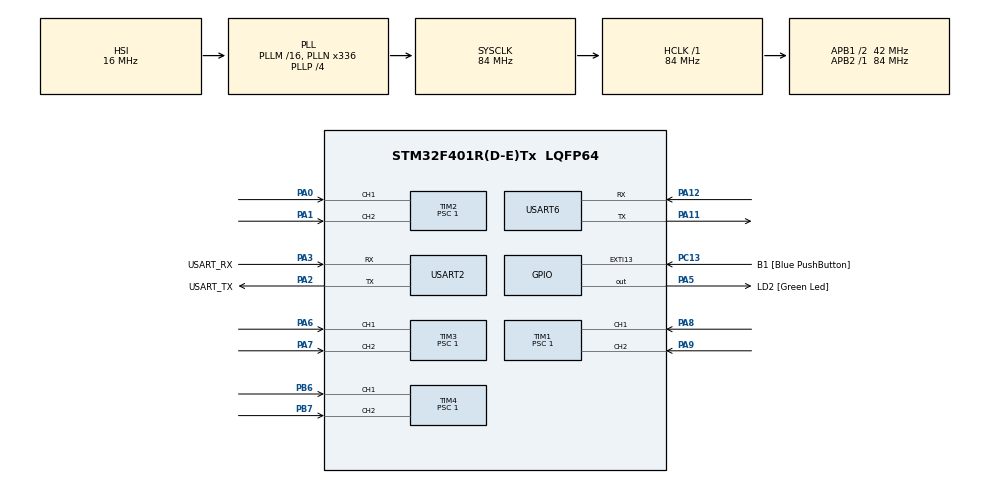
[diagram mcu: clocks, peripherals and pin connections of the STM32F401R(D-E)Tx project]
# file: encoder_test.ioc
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Mcu.Family=STM32F4
Mcu.Name=STM32F401R(D-E)Tx
Mcu.Package=LQFP64
NVIC.PriorityGroup=NVIC_PRIORITYGROUP_0
NVIC.TIM1_UP_TIM10_IRQn=true\:0\:0\:false\:false\:true\:true\:true
PA0-WKUP.Signal=S_TIM2_CH1_ETR
PA1.Signal=S_TIM2_CH2
PA11.Mode=Asynchronous
PA11.Signal=USART6_TX
PA12.Mode=Asynchronous
PA12.Signal=USART6_RX
PA13.GPIO_Label=TMS
PA13.Mode=Serial_Wire
PA13.Signal=SYS_JTMS-SWDIO
PA14.GPIO_Label=TCK
PA14.Mode=Serial_Wire
PA14.Signal=SYS_JTCK-SWCLK
PA2.GPIO_Label=USART_TX
PA2.GPIO_Mode=GPIO_MODE_AF_PP
PA2.GPIO_PuPd=GPIO_NOPULL
PA2.GPIO_Speed=GPIO_SPEED_FREQ_LOW
PA2.Mode=Asynchronous
PA2.Signal=USART2_TX
PA3.GPIO_Label=USART_RX
PA3.GPIO_Mode=GPIO_MODE_AF_PP
PA3.GPIO_PuPd=GPIO_NOPULL
PA3.GPIO_Speed=GPIO_SPEED_FREQ_LOW
PA3.Mode=Asynchronous
PA3.Signal=USART2_RX
PA5.GPIO_Label=LD2 [Green Led]
PA5.GPIO_Mode=GPIO_MODE_OUTPUT_PP
PA5.GPIO_PuPd=GPIO_NOPULL
PA5.GPIO_Speed=GPIO_SPEED_FREQ_LOW
PA5.Signal=GPIO_Output
PA6.Signal=S_TIM3_CH1
PA7.Signal=S_TIM3_CH2
PA8.Signal=S_TIM1_CH1
PA9.Signal=S_TIM1_CH2
PB3.GPIO_Label=SWO
PB3.Signal=SYS_JTDO-SWO
PB6.Signal=S_TIM4_CH1
PB7.Signal=S_TIM4_CH2
PC13-ANTI_TAMP.GPIO_Label=B1 [Blue PushButton]
PC13-ANTI_TAMP.GPIO_ModeDefaultEXTI=GPIO_MODE_IT_FALLING
PC13-ANTI_TAMP.GPIO_PuPd=GPIO_NOPULL
PC13-ANTI_TAMP.Signal=GPXTI13
PC14-OSC32_IN.Mode=LSE-External-Oscillator
PC14-OSC32_IN.Signal=RCC_OSC32_IN
PC15-OSC32_OUT.Mode=LSE-External-Oscillator
PC15-OSC32_OUT.Signal=RCC_OSC32_OUT
PH0\ -\ OSC_IN.Mode=HSE-External-Clock-Source
PH0\ -\ OSC_IN.Signal=RCC_OSC_IN
PH1\ -\ OSC_OUT.Mode=HSE-External-Clock-Source
PH1\ -\ OSC_OUT.Signal=RCC_OSC_OUT
ProjectManager.HeapSize=0x200
ProjectManager.StackSize=0x400
ProjectManager.TargetToolchain=STM32CubeIDE
RCC.48MHZClocksFreq_Value=48000000
RCC.AHBFreq_Value=84000000
RCC.APB1CLKDivider=RCC_HCLK_DIV2
RCC.APB1Freq_Value=42000000
RCC.APB1TimFreq_Value=84000000
RCC.APB2Freq_Value=84000000
RCC.APB2TimFreq_Value=84000000
RCC.CortexFreq_Value=84000000
RCC.HCLKFreq_Value=84000000
RCC.HSE_VALUE=8000000
RCC.HSI_VALUE=16000000
RCC.PLLN=336
RCC.PLLP=RCC_PLLP_DIV4
RCC.PLLQ=7
RCC.SYSCLKFreq_VALUE=84000000
RCC.SYSCLKSource=RCC_SYSCLKSOURCE_PLLCLK
RCC.VCOOutputFreq_Value=336000000
SH.S_TIM1_CH1.0=TIM1_CH1,Encoder_Interface
SH.S_TIM1_CH2.0=TIM1_CH2,Encoder_Interface
SH.S_TIM2_CH1_ETR.0=TIM2_CH1,Encoder_Interface
SH.S_TIM2_CH2.0=TIM2_CH2,Encoder_Interface
SH.S_TIM3_CH1.0=TIM3_CH1,Encoder_Interface
SH.S_TIM3_CH2.0=TIM3_CH2,Encoder_Interface
SH.S_TIM4_CH1.0=TIM4_CH1,Encoder_Interface
SH.S_TIM4_CH2.0=TIM4_CH2,Encoder_Interface
TIM1.IC1Filter=0
TIM1.Period=59999
TIM1.Prescaler=1
TIM10.AutoReloadPreload=TIM_AUTORELOAD_PRELOAD_ENABLE
TIM10.Period=8400
TIM10.Prescaler=999
TIM2.Period=59999
TIM2.Prescaler=1
TIM3.Period=59999
TIM3.Prescaler=1
TIM4.Period=59999
TIM4.Prescaler=1
USART2.VirtualMode=VM_ASYNC
USART6.VirtualMode=VM_ASYNC
VP_TIM10_VS_ClockSourceINT.Mode=Enable_Timer
board=NUCLEO-F401RE

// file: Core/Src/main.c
/* USER CODE BEGIN Header */
/**
 ******************************************************************************
 * @file           : main.c
 * @brief          : Main program body
 ******************************************************************************
 * @attention
 *
 * <h2><center>&copy; Copyright (c) 2021 STMicroelectronics.
 * All rights reserved.</center></h2>
 *
 * This software component is licensed by ST under BSD 3-Clause license,
 * the "License"; You may not use this file except in compliance with the
 * License. You may obtain a copy of the License at:
 *                        opensource.org/licenses/BSD-3-Clause
 *
 ******************************************************************************
 */
/* USER CODE END Header */
#include "main.h"

/* USER CODE BEGIN Includes */
#include "xprintf.h"
/* USER CODE END Includes */

/* USER CODE BEGIN PTD */
#define motor_pr 1440.0 //motor P/R
/* USER CODE END PTD */

TIM_HandleTypeDef htim1;
TIM_HandleTypeDef htim2;
TIM_HandleTypeDef htim3;
TIM_HandleTypeDef htim4;
TIM_HandleTypeDef htim10;

UART_HandleTypeDef huart2;
UART_HandleTypeDef huart6;

void SystemClock_Config(void);
static void MX_GPIO_Init(void);
static void MX_USART2_UART_Init(void);
static void MX_TIM3_Init(void);
static void MX_TIM1_Init(void);
static void MX_TIM2_Init(void);
static void MX_TIM4_Init(void);
static void MX_TIM10_Init(void);
static void MX_USART6_UART_Init(void);

/* USER CODE BEGIN 0 */
float pwm[4] = { 0 };
void Count2rpm() {
	pwm[0] = (((float) TIM1->CNT - 30000.0) * 600.0) / motor_pr;
	pwm[1] = (((float) TIM2->CNT - 30000.0) * 600.0) / motor_pr;
	pwm[2] = (((float) TIM3->CNT - 30000.0) * 600.0) / motor_pr;
	pwm[3] = (((float) TIM4->CNT - 30000.0) * 600.0) / motor_pr;
	TIM1->CNT = 30000;
	TIM2->CNT = 30000;
	TIM3->CNT = 30000;
	TIM4->CNT = 30000;
}

void uart_putc(uint8_t c) {
	char buf[1];
	buf[0] = c;
	HAL_UART_Transmit(&huart2, (uint8_t*) buf, sizeof(buf), 0xFFFF);
}
void uart_puts(char *str) {
	while (*str) {
		uart_putc(*str++);
	}
}

TIM_Encoder_InitTypeDef sConfig1;
TIM_Encoder_InitTypeDef sConfig2;
TIM_Encoder_InitTypeDef sConfig3;
TIM_Encoder_InitTypeDef sConfig4;
TIM_MasterConfigTypeDef sMasterConfig1;
TIM_MasterConfigTypeDef sMasterConfig2;
TIM_MasterConfigTypeDef sMasterConfig3;
TIM_MasterConfigTypeDef sMasterConfig4;
/* USER CODE END 0 */

int main(void) {
	/* USER CODE BEGIN 1 */
	xdev_out(uart_putc);

	/* USER CODE END 1 */

	/* MCU Configuration--------------------------------------------------------*/

	/* Reset of all peripherals, Initializes the Flash interface and the Systick. */
	HAL_Init();

	/* Configure the system clock */
	SystemClock_Config();

	/* Initialize all configured peripherals */
	MX_GPIO_Init();
	MX_USART2_UART_Init();
	MX_TIM3_Init();
	MX_TIM1_Init();
	MX_TIM2_Init();
	MX_TIM4_Init();
	MX_TIM10_Init();
	MX_USART6_UART_Init();
	/* USER CODE BEGIN 2 */
	uint8_t buf[5];
	uint16_t tx_rpm[4] = { 500, 500, 500, 500 };
	if (HAL_TIM_Encoder_Init(&htim1, &sConfig1) != HAL_OK) {
		Error_Handler();
	}
	HAL_TIM_Encoder_Start(&htim1, TIM_CHANNEL_ALL);
	TIM1->CNT = 30000;

	if (HAL_TIM_Encoder_Init(&htim2, &sConfig2) != HAL_OK) {
		Error_Handler();
	}
	HAL_TIM_Encoder_Start(&htim2, TIM_CHANNEL_ALL);
	TIM2->CNT = 30000;

	if (HAL_TIM_Encoder_Init(&htim3, &sConfig3) != HAL_OK) {
		Error_Handler();
	}
	HAL_TIM_Encoder_Start(&htim3, TIM_CHANNEL_ALL);
	TIM3->CNT = 30000;

	if (HAL_TIM_Encoder_Init(&htim4, &sConfig4) != HAL_OK) {
		Error_Handler();
	}
	HAL_TIM_Encoder_Start(&htim4, TIM_CHANNEL_ALL);
	TIM4->CNT = 30000;
	HAL_TIM_Base_Start_IT(&htim10);
	/* USER CODE END 2 */

	/* Infinite loop */
	/* USER CODE BEGIN WHILE */
	while (1) {
		for (int i = 0; i < 4; i++) {
			tx_rpm[i] = pwm[i] + 500;
		}
		buf[0] = (tx_rpm[0] & 0xFF); //0から8桁
		buf[1] = (((tx_rpm[0] >> 8) + (tx_rpm[1] << 2)) & 0xFF); //0から2桁、1から6桁
		buf[2] = (((tx_rpm[1] >> 6) + (tx_rpm[2] << 4)) & 0xFF); //1から4桁、2から4桁
		buf[3] = (((tx_rpm[2] >> 4) + (tx_rpm[3] << 6)) & 0xFF); //2から6桁、3から2桁
		buf[4] = ((tx_rpm[3] >> 2) & 0xFF);
		HAL_UART_Transmit(&huart6, buf, sizeof(buf), 0xFFFF);
		HAL_Delay(100);
		/* USER CODE END WHILE */

	}
}

void SystemClock_Config(void) {
	RCC_OscInitTypeDef RCC_OscInitStruct = { 0 };
	RCC_ClkInitTypeDef RCC_ClkInitStruct = { 0 };

	/** Configure the main internal regulator output voltage
	 */
	__HAL_RCC_PWR_CLK_ENABLE();
	__HAL_PWR_VOLTAGESCALING_CONFIG(PWR_REGULATOR_VOLTAGE_SCALE2);
	/** Initializes the RCC Oscillators according to the specified parameters
	 * in the RCC_OscInitTypeDef structure.
	 */
	RCC_OscInitStruct.OscillatorType = RCC_OSCILLATORTYPE_HSI;
	RCC_OscInitStruct.HSIState = RCC_HSI_ON;
	RCC_OscInitStruct.HSICalibrationValue = RCC_HSICALIBRATION_DEFAULT;
	RCC_OscInitStruct.PLL.PLLState = RCC_PLL_ON;
	RCC_OscInitStruct.PLL.PLLSource = RCC_PLLSOURCE_HSI;
	RCC_OscInitStruct.PLL.PLLM = 16;
	RCC_OscInitStruct.PLL.PLLN = 336;
	RCC_OscInitStruct.PLL.PLLP = RCC_PLLP_DIV4;
	RCC_OscInitStruct.PLL.PLLQ = 7;
	if (HAL_RCC_OscConfig(&RCC_OscInitStruct) != HAL_OK) {
		Error_Handler();
	}
	/** Initializes the CPU, AHB and APB buses clocks
	 */
	RCC_ClkInitStruct.ClockType = RCC_CLOCKTYPE_HCLK | RCC_CLOCKTYPE_SYSCLK
			| RCC_CLOCKTYPE_PCLK1 | RCC_CLOCKTYPE_PCLK2;
	RCC_ClkInitStruct.SYSCLKSource = RCC_SYSCLKSOURCE_PLLCLK;
	RCC_ClkInitStruct.AHBCLKDivider = RCC_SYSCLK_DIV1;
	RCC_ClkInitStruct.APB1CLKDivider = RCC_HCLK_DIV2;
	RCC_ClkInitStruct.APB2CLKDivider = RCC_HCLK_DIV1;

	if (HAL_RCC_ClockConfig(&RCC_ClkInitStruct, FLASH_LATENCY_2) != HAL_OK) {
		Error_Handler();
	}
}

static void MX_TIM1_Init(void) {

	//TIM_Encoder_InitTypeDef sConfig = {0};
	//TIM_MasterConfigTypeDef sMasterConfig = {0};
	htim1.Instance = TIM1;
	htim1.Init.Prescaler = 1;
	htim1.Init.CounterMode = TIM_COUNTERMODE_UP;
	htim1.Init.Period = 59999;
	htim1.Init.ClockDivision = TIM_CLOCKDIVISION_DIV1;
	htim1.Init.RepetitionCounter = 0;
	htim1.Init.AutoReloadPreload = TIM_AUTORELOAD_PRELOAD_DISABLE;
	sConfig1.EncoderMode = TIM_ENCODERMODE_TI1;
	sConfig1.IC1Polarity = TIM_ICPOLARITY_RISING;
	sConfig1.IC1Selection = TIM_ICSELECTION_DIRECTTI;
	sConfig1.IC1Prescaler = TIM_ICPSC_DIV1;
	sConfig1.IC1Filter = 0;
	sConfig1.IC2Polarity = TIM_ICPOLARITY_RISING;
	sConfig1.IC2Selection = TIM_ICSELECTION_DIRECTTI;
	sConfig1.IC2Prescaler = TIM_ICPSC_DIV1;
	sConfig1.IC2Filter = 0;
	if (HAL_TIM_Encoder_Init(&htim1, &sConfig1) != HAL_OK) {
		Error_Handler();
	}
	sMasterConfig1.MasterOutputTrigger = TIM_TRGO_RESET;
	sMasterConfig1.MasterSlaveMode = TIM_MASTERSLAVEMODE_DISABLE;
	if (HAL_TIMEx_MasterConfigSynchronization(&htim1, &sMasterConfig1)
			!= HAL_OK) {
		Error_Handler();
	}

}

static void MX_TIM2_Init(void) {

	//TIM_Encoder_InitTypeDef sConfig = {0};
	//TIM_MasterConfigTypeDef sMasterConfig = {0};
	htim2.Instance = TIM2;
	htim2.Init.Prescaler = 1;
	htim2.Init.CounterMode = TIM_COUNTERMODE_UP;
	htim2.Init.Period = 59999;
	htim2.Init.ClockDivision = TIM_CLOCKDIVISION_DIV1;
	htim2.Init.AutoReloadPreload = TIM_AUTORELOAD_PRELOAD_DISABLE;
	sConfig2.EncoderMode = TIM_ENCODERMODE_TI1;
	sConfig2.IC1Polarity = TIM_ICPOLARITY_RISING;
	sConfig2.IC1Selection = TIM_ICSELECTION_DIRECTTI;
	sConfig2.IC1Prescaler = TIM_ICPSC_DIV1;
	sConfig2.IC1Filter = 0;
	sConfig2.IC2Polarity = TIM_ICPOLARITY_RISING;
	sConfig2.IC2Selection = TIM_ICSELECTION_DIRECTTI;
	sConfig2.IC2Prescaler = TIM_ICPSC_DIV1;
	sConfig2.IC2Filter = 0;
	if (HAL_TIM_Encoder_Init(&htim2, &sConfig2) != HAL_OK) {
		Error_Handler();
	}
	sMasterConfig2.MasterOutputTrigger = TIM_TRGO_RESET;
	sMasterConfig2.MasterSlaveMode = TIM_MASTERSLAVEMODE_DISABLE;
	if (HAL_TIMEx_MasterConfigSynchronization(&htim2, &sMasterConfig2)
			!= HAL_OK) {
		Error_Handler();
	}

}

static void MX_TIM3_Init(void) {

	TIM_Encoder_InitTypeDef sConfig = { 0 };
	TIM_MasterConfigTypeDef sMasterConfig = { 0 };

	htim3.Instance = TIM3;
	htim3.Init.Prescaler = 1;
	htim3.Init.CounterMode = TIM_COUNTERMODE_UP;
	htim3.Init.Period = 59999;
	htim3.Init.ClockDivision = TIM_CLOCKDIVISION_DIV1;
	htim3.Init.AutoReloadPreload = TIM_AUTORELOAD_PRELOAD_DISABLE;
	sConfig3.EncoderMode = TIM_ENCODERMODE_TI1;
	sConfig3.IC1Polarity = TIM_ICPOLARITY_RISING;
	sConfig3.IC1Selection = TIM_ICSELECTION_DIRECTTI;
	sConfig3.IC1Prescaler = TIM_ICPSC_DIV1;
	sConfig3.IC1Filter = 0;
	sConfig3.IC2Polarity = TIM_ICPOLARITY_RISING;
	sConfig3.IC2Selection = TIM_ICSELECTION_DIRECTTI;
	sConfig3.IC2Prescaler = TIM_ICPSC_DIV1;
	sConfig3.IC2Filter = 0;
	if (HAL_TIM_Encoder_Init(&htim3, &sConfig3) != HAL_OK) {
		Error_Handler();
	}
	sMasterConfig3.MasterOutputTrigger = TIM_TRGO_RESET;
	sMasterConfig3.MasterSlaveMode = TIM_MASTERSLAVEMODE_DISABLE;
	if (HAL_TIMEx_MasterConfigSynchronization(&htim3, &sMasterConfig3)
			!= HAL_OK) {
		Error_Handler();
	}

}

static void MX_TIM4_Init(void) {

	TIM_Encoder_InitTypeDef sConfig = { 0 };
	TIM_MasterConfigTypeDef sMasterConfig = { 0 };

	htim4.Instance = TIM4;
	htim4.Init.Prescaler = 1;
	htim4.Init.CounterMode = TIM_COUNTERMODE_UP;
	htim4.Init.Period = 59999;
	htim4.Init.ClockDivision = TIM_CLOCKDIVISION_DIV1;
	htim4.Init.AutoReloadPreload = TIM_AUTORELOAD_PRELOAD_DISABLE;
	sConfig4.EncoderMode = TIM_ENCODERMODE_TI1;
	sConfig4.IC1Polarity = TIM_ICPOLARITY_RISING;
	sConfig4.IC1Selection = TIM_ICSELECTION_DIRECTTI;
	sConfig4.IC1Prescaler = TIM_ICPSC_DIV1;
	sConfig4.IC1Filter = 0;
	sConfig4.IC2Polarity = TIM_ICPOLARITY_RISING;
	sConfig4.IC2Selection = TIM_ICSELECTION_DIRECTTI;
	sConfig4.IC2Prescaler = TIM_ICPSC_DIV1;
	sConfig4.IC2Filter = 0;
	if (HAL_TIM_Encoder_Init(&htim4, &sConfig4) != HAL_OK) {
		Error_Handler();
	}
	sMasterConfig4.MasterOutputTrigger = TIM_TRGO_RESET;
	sMasterConfig4.MasterSlaveMode = TIM_MASTERSLAVEMODE_DISABLE;
	if (HAL_TIMEx_MasterConfigSynchronization(&htim4, &sMasterConfig4)
			!= HAL_OK) {
		Error_Handler();
	}

}

static void MX_TIM10_Init(void) {

	htim10.Instance = TIM10;
	htim10.Init.Prescaler = 999;
	htim10.Init.CounterMode = TIM_COUNTERMODE_UP;
	htim10.Init.Period = 8400;
	htim10.Init.ClockDivision = TIM_CLOCKDIVISION_DIV1;
	htim10.Init.AutoReloadPreload = TIM_AUTORELOAD_PRELOAD_ENABLE;
	if (HAL_TIM_Base_Init(&htim10) != HAL_OK) {
		Error_Handler();
	}

}

static void MX_USART2_UART_Init(void) {

	huart2.Instance = USART2;
	huart2.Init.BaudRate = 115200;
	huart2.Init.WordLength = UART_WORDLENGTH_8B;
	huart2.Init.StopBits = UART_STOPBITS_1;
	huart2.Init.Parity = UART_PARITY_NONE;
	huart2.Init.Mode = UART_MODE_TX_RX;
	huart2.Init.HwFlowCtl = UART_HWCONTROL_NONE;
	huart2.Init.OverSampling = UART_OVERSAMPLING_16;
	if (HAL_UART_Init(&huart2) != HAL_OK) {
		Error_Handler();
	}

}

static void MX_USART6_UART_Init(void) {

	huart6.Instance = USART6;
	huart6.Init.BaudRate = 115200;
	huart6.Init.WordLength = UART_WORDLENGTH_8B;
	huart6.Init.StopBits = UART_STOPBITS_1;
	huart6.Init.Parity = UART_PARITY_NONE;
	huart6.Init.Mode = UART_MODE_TX_RX;
	huart6.Init.HwFlowCtl = UART_HWCONTROL_NONE;
	huart6.Init.OverSampling = UART_OVERSAMPLING_16;
	if (HAL_UART_Init(&huart6) != HAL_OK) {
		Error_Handler();
	}

}

static void MX_GPIO_Init(void) {
	GPIO_InitTypeDef GPIO_InitStruct = { 0 };

	/* GPIO Ports Clock Enable */
	__HAL_RCC_GPIOC_CLK_ENABLE();
	__HAL_RCC_GPIOH_CLK_ENABLE();
	__HAL_RCC_GPIOA_CLK_ENABLE();
	__HAL_RCC_GPIOB_CLK_ENABLE();

	/*Configure GPIO pin Output Level */
	HAL_GPIO_WritePin(LD2_GPIO_Port, LD2_Pin, GPIO_PIN_RESET);

	/*Configure GPIO pin : B1_Pin */
	GPIO_InitStruct.Pin = B1_Pin;
	GPIO_InitStruct.Mode = GPIO_MODE_IT_FALLING;
	GPIO_InitStruct.Pull = GPIO_NOPULL;
	HAL_GPIO_Init(B1_GPIO_Port, &GPIO_InitStruct);

	/*Configure GPIO pin : LD2_Pin */
	GPIO_InitStruct.Pin = LD2_Pin;
	GPIO_InitStruct.Mode = GPIO_MODE_OUTPUT_PP;
	GPIO_InitStruct.Pull = GPIO_NOPULL;
	GPIO_InitStruct.Speed = GPIO_SPEED_FREQ_LOW;
	HAL_GPIO_Init(LD2_GPIO_Port, &GPIO_InitStruct);

}

void Error_Handler(void) {
}

/************************ (C) COPYRIGHT STMicroelectronics *****END OF FILE****/
